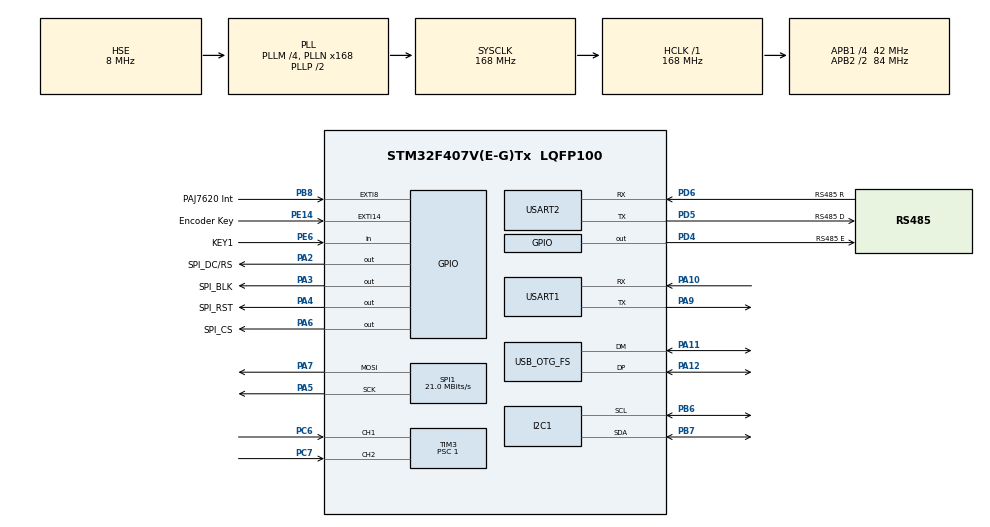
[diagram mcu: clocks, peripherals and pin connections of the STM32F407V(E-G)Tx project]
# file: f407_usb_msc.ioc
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ADC1.Channel-0\#ChannelRegularConversion=ADC_CHANNEL_TEMPSENSOR
ADC1.ContinuousConvMode=DISABLE
ADC1.NbrOfConversion=1
ADC1.NbrOfConversionFlag=1
ADC1.Rank-0\#ChannelRegularConversion=1
ADC1.SamplingTime-0\#ChannelRegularConversion=ADC_SAMPLETIME_3CYCLES
ADC1.master=1
FATFS._CODE_PAGE=936
FATFS._FS_NORTC=1
FATFS._MAX_SS=512
FATFS._NORTC_MDAY=1
FATFS._NORTC_MON=8
FATFS._NORTC_YEAR=2024
FREERTOS.INCLUDE_xEventGroupSetBitFromISR=1
FREERTOS.INCLUDE_xTimerPendFunctionCall=1
FREERTOS.Tasks01=defaultTask,0,128,StartDefaultTask,Default,NULL,Dynamic,NULL,NULL
FREERTOS.configENABLE_FPU=1
FREERTOS.configLIBRARY_MAX_SYSCALL_INTERRUPT_PRIORITY=5
FREERTOS.configTIMER_TASK_PRIORITY=5
FREERTOS.configUSE_TIMERS=1
I2C1.OwnAddress=0
Mcu.Family=STM32F4
Mcu.Name=STM32F407V(E-G)Tx
Mcu.Package=LQFP100
NVIC.EXTI15_10_IRQn=true\:8\:0\:true\:false\:true\:true\:true\:true\:true
NVIC.EXTI9_5_IRQn=true\:6\:0\:true\:false\:true\:true\:true\:true\:true
NVIC.OTG_FS_IRQn=true\:7\:0\:true\:false\:true\:true\:false\:true\:true
NVIC.PriorityGroup=NVIC_PRIORITYGROUP_4
NVIC.TIM1_UP_TIM10_IRQn=true\:1\:0\:true\:false\:true\:false\:false\:true\:true
NVIC.TIM6_DAC_IRQn=true\:10\:0\:true\:false\:true\:true\:true\:true\:true
NVIC.TimeBase=TIM1_UP_TIM10_IRQn
NVIC.TimeBaseIP=TIM1
NVIC.USART1_IRQn=true\:9\:0\:true\:false\:true\:true\:true\:true\:true
PA10.Mode=Asynchronous
PA10.Signal=USART1_RX
PA11.Mode=Host_Only
PA11.Signal=USB_OTG_FS_DM
PA12.Mode=Host_Only
PA12.Signal=USB_OTG_FS_DP
PA13.Mode=Serial_Wire
PA13.Signal=SYS_JTMS-SWDIO
PA14.Mode=Serial_Wire
PA14.Signal=SYS_JTCK-SWCLK
PA2.GPIO_Label=SPI_DC/RS
PA2.Signal=GPIO_Output
PA3.GPIO_Label=SPI_BLK
PA3.Signal=GPIO_Output
PA4.GPIO_Label=SPI_RST
PA4.Signal=GPIO_Output
PA5.Mode=TX_Only_Simplex_Unidirect_Master
PA5.Signal=SPI1_SCK
PA6.GPIO_Label=SPI_CS
PA6.GPIO_Speed=GPIO_SPEED_FREQ_VERY_HIGH
PA6.PinState=GPIO_PIN_SET
PA6.Signal=GPIO_Output
PA7.Mode=TX_Only_Simplex_Unidirect_Master
PA7.Signal=SPI1_MOSI
PA9.Mode=Asynchronous
PA9.Signal=USART1_TX
PB6.GPIO_Pu=GPIO_PULLUP
PB6.Mode=I2C
PB6.Signal=I2C1_SCL
PB7.GPIO_Pu=GPIO_PULLUP
PB7.Mode=I2C
PB7.Signal=I2C1_SDA
PB8.GPIO_Label=PAJ7620 Int
PB8.GPIO_ModeDefaultEXTI=GPIO_MODE_IT_FALLING
PB8.GPIO_PuPd=GPIO_PULLUP
PB8.Signal=GPXTI8
PC14-OSC32_IN.Mode=LSE-External-Oscillator
PC14-OSC32_IN.Signal=RCC_OSC32_IN
PC15-OSC32_OUT.Mode=LSE-External-Oscillator
PC15-OSC32_OUT.Signal=RCC_OSC32_OUT
PC6.Signal=S_TIM3_CH1
PC7.Signal=S_TIM3_CH2
PD4.GPIO_Label=RS485 E
PD4.Signal=GPIO_Output
PD5.GPIO_Label=RS485 D
PD5.Mode=Asynchronous
PD5.Signal=USART2_TX
PD6.GPIO_Label=RS485 R
PD6.Mode=Asynchronous
PD6.Signal=USART2_RX
PE14.GPIO_Label=Encoder Key
PE14.GPIO_ModeDefaultEXTI=GPIO_MODE_IT_FALLING
PE14.GPIO_PuPd=GPIO_PULLUP
PE14.Signal=GPXTI14
PE6.GPIO_Label=KEY1
PE6.GPIO_PuPd=GPIO_PULLUP
PE6.Signal=GPIO_Input
PH0-OSC_IN.Mode=HSE-External-Oscillator
PH0-OSC_IN.Signal=RCC_OSC_IN
PH1-OSC_OUT.Mode=HSE-External-Oscillator
PH1-OSC_OUT.Signal=RCC_OSC_OUT
ProjectManager.HeapSize=0x200
ProjectManager.StackSize=0x2000
ProjectManager.TargetToolchain=MDK-ARM V5
RCC.48MHZClocksFreq_Value=48000000
RCC.AHBFreq_Value=168000000
RCC.APB1CLKDivider=RCC_HCLK_DIV4
RCC.APB1Freq_Value=42000000
RCC.APB1TimFreq_Value=84000000
RCC.APB2CLKDivider=RCC_HCLK_DIV2
RCC.APB2Freq_Value=84000000
RCC.APB2TimFreq_Value=168000000
RCC.CortexFreq_Value=168000000
RCC.HCLKFreq_Value=168000000
RCC.HSE_VALUE=8000000
RCC.HSI_VALUE=16000000
RCC.PLLM=4
RCC.PLLN=168
RCC.PLLQ=7
RCC.RCC_RTC_Clock_Source=RCC_RTCCLKSOURCE_LSE
RCC.RCC_RTC_Clock_SourceVirtual=RCC_RTCCLKSOURCE_LSE
RCC.SYSCLKFreq_VALUE=168000000
RCC.SYSCLKSource=RCC_SYSCLKSOURCE_PLLCLK
RCC.VCOOutputFreq_Value=336000000
SH.S_TIM3_CH1.0=TIM3_CH1,Encoder_Interface
SH.S_TIM3_CH2.0=TIM3_CH2,Encoder_Interface
SPI1.BaudRatePrescaler=SPI_BAUDRATEPRESCALER_4
SPI1.CLKPolarity=SPI_POLARITY_LOW
SPI1.CRCCalculation=SPI_CRCCALCULATION_DISABLE
SPI1.CalculateBaudRate=21.0 MBits/s
SPI1.Direction=SPI_DIRECTION_2LINES
SPI1.Mode=SPI_MODE_MASTER
SPI1.VirtualType=VM_MASTER
TIM3.AutoReloadPreload=TIM_AUTORELOAD_PRELOAD_DISABLE
TIM3.EncoderMode=TIM_ENCODERMODE_TI1
TIM3.IC1Filter=15
TIM3.IC1Polarity=TIM_ICPOLARITY_RISING
TIM3.IC2Filter=15
TIM3.Prescaler=1
TIM6.AutoReloadPreload=TIM_AUTORELOAD_PRELOAD_ENABLE
TIM6.Period=9999
TIM6.Prescaler=8399
TIM6.TIM_MasterOutputTrigger=TIM_TRGO_UPDATE
USART1.VirtualMode=VM_ASYNC
USART2.VirtualMode=VM_ASYNC
USB_HOST.USBH_HandleTypeDef-MSC_FS=hUsbHostFS
USB_HOST.USBH_PROCESS_STACK_SIZE-MSC_FS=512
USB_HOST.USBH_USE_OS-MSC_FS=0
USB_HOST.VirtualModeFS=Msc
USB_OTG_FS.VirtualMode=Host_Only
USB_OTG_FS.phy_itface=HCD_PHY_EMBEDDED
VP_ADC1_TempSens_Input.Mode=IN-TempSens
VP_FATFS_VS_USB.Mode=USB
VP_FREERTOS_VS_CMSIS_V1.Mode=CMSIS_V1
VP_SYS_VS_tim1.Mode=TIM1
VP_TIM6_VS_ClockSourceINT.Mode=Enable_Timer
VP_USB_HOST_VS_USB_HOST_MSC_FS.Mode=MSC_FS
board=custom

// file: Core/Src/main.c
/* USER CODE BEGIN Header */
/**
  ******************************************************************************
  * @file           : main.c
  * @brief          : Main program body
  ******************************************************************************
  * @attention
  *
  * Copyright (c) 2024 STMicroelectronics.
  * All rights reserved.
  *
  * This software is licensed under terms that can be found in the LICENSE file
  * in the root directory of this software component.
  * If no LICENSE file comes with this software, it is provided AS-IS.
  *
  ******************************************************************************
  */
/* USER CODE END Header */
#include "main.h"
#include "cmsis_os.h"
#include "adc.h"
#include "fatfs.h"
#include "i2c.h"
#include "spi.h"
#include "tim.h"
#include "usart.h"
#include "usb_host.h"
#include "gpio.h"

/* USER CODE BEGIN Includes */
#include <stdarg.h>

#include "paj7620.h"
#include "paj7620_9gestures.h"

#include "encoder.h"

#include "app.h"
#include "simple_log.h"

uint8_t RxData = 0;

/* USER CODE END Includes */

void SystemClock_Config(void);
void MX_FREERTOS_Init(void);
/* USER CODE BEGIN PFP */

/**
  * @brief  EXTI line detection callbacks.
  * @param  GPIO_Pin Specifies the pins connected EXTI line
  * @retval None
  */
void HAL_GPIO_EXTI_Callback(uint16_t GPIO_Pin)
{
	/* Prevent unused argument(s) compilation warning */
	UNUSED(GPIO_Pin);

	if(IsPaj7620Exti(GPIO_Pin)){
		gestureEXTINotify();
	}

	if(IsEncoderKeyExti(GPIO_Pin)){
		EncoderKeyNotifyProcess(NULL);
	}
}

/* USER CODE END PFP */

int main(void)
{

  /* MCU Configuration--------------------------------------------------------*/

  /* Reset of all peripherals, Initializes the Flash interface and the Systick. */
  HAL_Init();

  /* Configure the system clock */
  SystemClock_Config();

  /* Initialize all configured peripherals */
  MX_GPIO_Init();
  MX_FATFS_Init();
  MX_USART1_UART_Init();
  MX_SPI1_Init();
  MX_USART2_UART_Init();
  MX_I2C1_Init();
  MX_ADC1_Init();
  MX_TIM3_Init();
  MX_TIM6_Init();
  /* USER CODE BEGIN 2 */
	app_init();

  /* USER CODE END 2 */

  /* Call init function for freertos objects (in cmsis_os2.c) */
  MX_FREERTOS_Init();

  /* Start scheduler */
  osKernelStart();

  /* We should never get here as control is now taken by the scheduler */

  /* Infinite loop */
  while (1)
  {

  }
}

void SystemClock_Config(void)
{
  RCC_OscInitTypeDef RCC_OscInitStruct = {0};
  RCC_ClkInitTypeDef RCC_ClkInitStruct = {0};

  /** Configure the main internal regulator output voltage
  */
  __HAL_RCC_PWR_CLK_ENABLE();
  __HAL_PWR_VOLTAGESCALING_CONFIG(PWR_REGULATOR_VOLTAGE_SCALE1);

  /** Initializes the RCC Oscillators according to the specified parameters
  * in the RCC_OscInitTypeDef structure.
  */
  RCC_OscInitStruct.OscillatorType = RCC_OSCILLATORTYPE_HSE;
  RCC_OscInitStruct.HSEState = RCC_HSE_ON;
  RCC_OscInitStruct.PLL.PLLState = RCC_PLL_ON;
  RCC_OscInitStruct.PLL.PLLSource = RCC_PLLSOURCE_HSE;
  RCC_OscInitStruct.PLL.PLLM = 4;
  RCC_OscInitStruct.PLL.PLLN = 168;
  RCC_OscInitStruct.PLL.PLLP = RCC_PLLP_DIV2;
  RCC_OscInitStruct.PLL.PLLQ = 7;
  if (HAL_RCC_OscConfig(&RCC_OscInitStruct) != HAL_OK)
  {
    Error_Handler();
  }

  /** Initializes the CPU, AHB and APB buses clocks
  */
  RCC_ClkInitStruct.ClockType = RCC_CLOCKTYPE_HCLK|RCC_CLOCKTYPE_SYSCLK
                              |RCC_CLOCKTYPE_PCLK1|RCC_CLOCKTYPE_PCLK2;
  RCC_ClkInitStruct.SYSCLKSource = RCC_SYSCLKSOURCE_PLLCLK;
  RCC_ClkInitStruct.AHBCLKDivider = RCC_SYSCLK_DIV1;
  RCC_ClkInitStruct.APB1CLKDivider = RCC_HCLK_DIV4;
  RCC_ClkInitStruct.APB2CLKDivider = RCC_HCLK_DIV2;

  if (HAL_RCC_ClockConfig(&RCC_ClkInitStruct, FLASH_LATENCY_5) != HAL_OK)
  {
    Error_Handler();
  }
}

/* USER CODE BEGIN 4 */

void def_printf(const char *format, ...)
{
  va_list args;
  char pbuff[256] = {0};

  va_start(args, format);	// 初始化args，获取format以后的参数（包括format�???

  vsprintf(pbuff, format, args);
  printf("%s", pbuff);

  va_end(args);	// 清理 args

  while(HAL_UART_GetState(&huart1) != HAL_UART_STATE_READY);  //等待uart发完
}

void HAL_UART_RxCpltCallback(UART_HandleTypeDef *huart)
{
  /* Prevent unused argument(s) compilation warning */
  UNUSED(huart);
  /* NOTE: This function Should not be modified, when the callback is needed,
           the HAL_UART_TxCpltCallback could be implemented in the user file
   */

//   def_printf("%c", RxData);
//   HAL_UART_Transmit(&huart1, &RxData, 1,0xFFFF);				//将收到的信息发出
//   while(HAL_UART_GetState(&huart1) != HAL_UART_STATE_READY);	//测UART发�?�结

//   HAL_UART_Receive_IT(&huart1, (uint8_t *)&RxData, 1);
}
/* USER CODE END 4 */

void HAL_TIM_PeriodElapsedCallback(TIM_HandleTypeDef *htim)
{
  if (htim->Instance == TIM1) {
    HAL_IncTick();
  }
  /* USER CODE BEGIN Callback 1 */
  if (htim->Instance == TIM6) {
    // LOG_IN("tim6 update");
  }

  /* USER CODE END Callback 1 */
}

void Error_Handler(void)
{
  __disable_irq();
  while (1)
  {
  }
}

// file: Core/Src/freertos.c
/* USER CODE BEGIN Header */
/**
  ******************************************************************************
  * File Name          : freertos.c
  * Description        : Code for freertos applications
  ******************************************************************************
  * @attention
  *
  * Copyright (c) 2024 STMicroelectronics.
  * All rights reserved.
  *
  * This software is licensed under terms that can be found in the LICENSE file
  * in the root directory of this software component.
  * If no LICENSE file comes with this software, it is provided AS-IS.
  *
  ******************************************************************************
  */
/* USER CODE END Header */

#include "FreeRTOS.h"
#include "task.h"
#include "main.h"
#include "cmsis_os.h"

/* USER CODE BEGIN Includes */
#include "stdio.h"
/* USER CODE END Includes */

osThreadId defaultTaskHandle;

void StartDefaultTask(void const * argument);

extern void MX_USB_HOST_Init(void);
void MX_FREERTOS_Init(void); /* (MISRA C 2004 rule 8.1) */

/* GetIdleTaskMemory prototype (linked to static allocation support) */
void vApplicationGetIdleTaskMemory( StaticTask_t **ppxIdleTaskTCBBuffer, StackType_t **ppxIdleTaskStackBuffer, uint32_t *pulIdleTaskStackSize );

/* GetTimerTaskMemory prototype (linked to static allocation support) */
void vApplicationGetTimerTaskMemory( StaticTask_t **ppxTimerTaskTCBBuffer, StackType_t **ppxTimerTaskStackBuffer, uint32_t *pulTimerTaskStackSize );

/* USER CODE BEGIN GET_IDLE_TASK_MEMORY */
static StaticTask_t xIdleTaskTCBBuffer;
static StackType_t xIdleStack[configMINIMAL_STACK_SIZE];

void vApplicationGetIdleTaskMemory( StaticTask_t **ppxIdleTaskTCBBuffer, StackType_t **ppxIdleTaskStackBuffer, uint32_t *pulIdleTaskStackSize )
{
  *ppxIdleTaskTCBBuffer = &xIdleTaskTCBBuffer;
  *ppxIdleTaskStackBuffer = &xIdleStack[0];
  *pulIdleTaskStackSize = configMINIMAL_STACK_SIZE;
  /* place for user code */
}
/* USER CODE END GET_IDLE_TASK_MEMORY */

/* USER CODE BEGIN GET_TIMER_TASK_MEMORY */
static StaticTask_t xTimerTaskTCBBuffer;
static StackType_t xTimerStack[configTIMER_TASK_STACK_DEPTH];

void vApplicationGetTimerTaskMemory( StaticTask_t **ppxTimerTaskTCBBuffer, StackType_t **ppxTimerTaskStackBuffer, uint32_t *pulTimerTaskStackSize )
{
  *ppxTimerTaskTCBBuffer = &xTimerTaskTCBBuffer;
  *ppxTimerTaskStackBuffer = &xTimerStack[0];
  *pulTimerTaskStackSize = configTIMER_TASK_STACK_DEPTH;
  /* place for user code */
}
/* USER CODE END GET_TIMER_TASK_MEMORY */

void MX_FREERTOS_Init(void) {

  /* Create the thread(s) */
  /* definition and creation of defaultTask */
  osThreadDef(defaultTask, StartDefaultTask, osPriorityNormal, 0, 128);
  defaultTaskHandle = osThreadCreate(osThread(defaultTask), NULL);

}

void StartDefaultTask(void const * argument)
{
  /* init code for USB_HOST */
  MX_USB_HOST_Init();
  /* USER CODE BEGIN StartDefaultTask */
  /* Infinite loop */
  for(;;)
  {
		// printf("task %s is running\r\n", __FUNCTION__);
    osDelay(1000);
  }
  /* USER CODE END StartDefaultTask */
}
